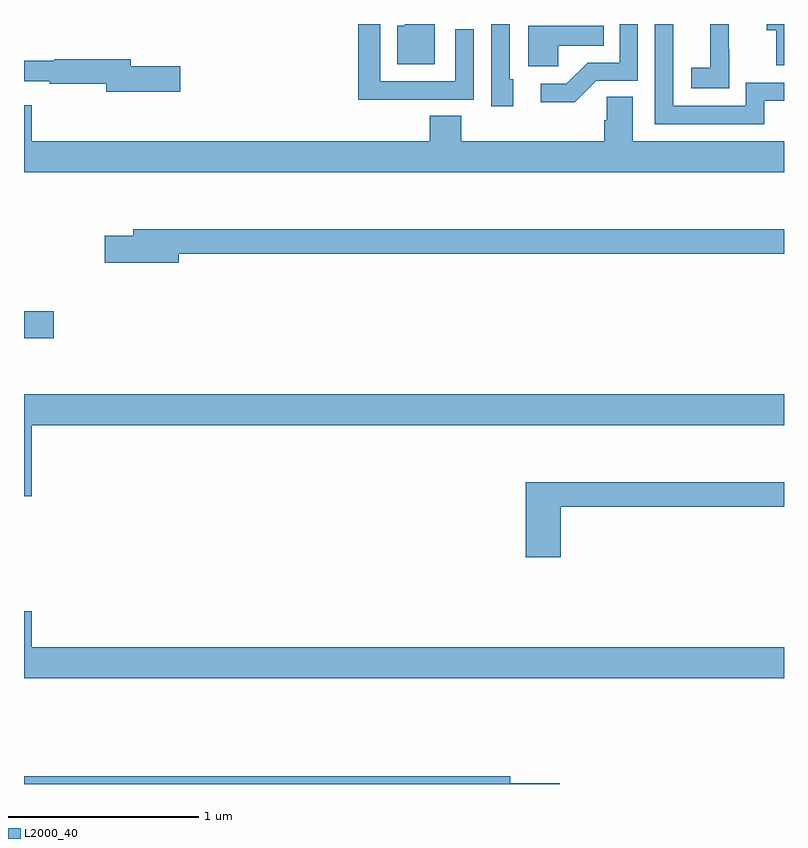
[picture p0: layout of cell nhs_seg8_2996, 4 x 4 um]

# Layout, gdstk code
import gdstk
lib = gdstk.Library(unit=1e-6, precision=1e-09)
def R(c, l, rs):  # rectangles x0, y0, x1, y1
    for r in rs: c.add(gdstk.rectangle(r[:2], r[2:], *l))
def P(c, l, *ps):  # polygons
    for p in ps: c.add(gdstk.Polygon(p, *l))
L2000_40 = (2000, 40)

nhs_seg8_2996 = lib.new_cell('nhs_seg8_2996')
R(nhs_seg8_2996, L2000_40, [(297,1162.246,297.157,1162.388)])
P(nhs_seg8_2996, L2000_40, [(299.575,1163.61),(299.556,1163.61),(299.556,1163.9),(299.46,1163.9),(299.46,1163.466),(299.575,1163.466)],
  [(299.161,1163.9),(299.003,1163.9),(299.003,1163.89),(298.964,1163.89),(298.964,1163.687),(299.161,1163.687)],
  [(300.012,1163.601),(300.231,1163.601),(300.231,1163.9),(300.135,1163.9),(300.135,1163.697),(299.966,1163.697),(299.855,1163.586),(299.721,1163.586),(299.721,1163.489),(299.899,1163.489)],
  [(299.051,1163.502),(299.367,1163.502),(299.367,1163.872),(299.271,1163.872),(299.271,1163.598),(298.875,1163.598),(298.875,1163.9),(298.759,1163.9),(298.759,1163.501),(299.051,1163.501)],
  [(300.711,1163.767),(300.71,1163.767),(300.71,1163.9),(300.611,1163.9),(300.611,1163.671),(300.513,1163.671),(300.513,1163.561),(300.711,1163.561)],
  [(300.895,1163.496),(301,1163.496),(301,1163.592),(300.798,1163.592),(300.798,1163.469),(300.417,1163.469),(300.417,1163.9),(300.321,1163.9),(300.321,1163.373),(300.895,1163.373)],
  [(301,1163.9),(300.909,1163.9),(300.909,1163.867),(300.958,1163.867),(300.958,1163.682),(301,1163.682)],
  [(299.811,1163.786),(300.05,1163.786),(300.05,1163.89),(299.654,1163.89),(299.654,1163.678),(299.811,1163.678)],
  [(297.823,1163.678),(297.562,1163.678),(297.562,1163.714),(297.158,1163.714),(297.158,1163.707),(297,1163.707),(297,1163.598),(297.136,1163.598),(297.136,1163.586),(297.434,1163.586),(297.434,1163.543),(297.823,1163.543)],
  [(301,1163.284),(300.205,1163.284),(300.205,1163.516),(300.066,1163.516),(300.066,1163.393),(300.053,1163.393),(300.053,1163.284),(299.3,1163.284),(299.3,1163.417),(299.135,1163.417),(299.135,1163.284),(297.04,1163.284),(297.04,1163.473),(297,1163.473),(297,1163.12),(301,1163.12)],
  [(297.814,1162.69),(301,1162.69),(301,1162.819),(297.575,1162.819),(297.575,1162.785),(297.426,1162.785),(297.426,1162.643),(297.814,1162.643)],
  [(297.04,1161.788),(301,1161.788),(301,1161.952),(297,1161.952),(297,1161.414),(297.04,1161.414)],
  [(299.825,1161.358),(301,1161.358),(301,1161.487),(299.642,1161.487),(299.642,1161.093),(299.825,1161.093)],
  [(301,1160.62),(297.04,1160.62),(297.04,1160.809),(297,1160.809),(297,1160.456),(301,1160.456)],
  [(299.821,1159.904),(299.56,1159.904),(299.56,1159.94),(297,1159.94),(297,1159.9),(299.821,1159.9)])

lib.write_gds('nhs_seg8_2996.gds')
